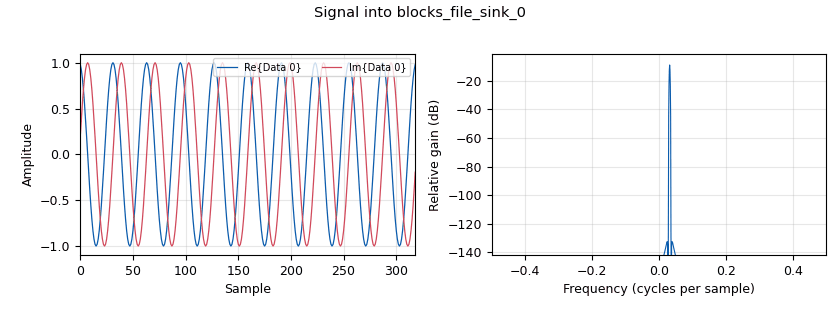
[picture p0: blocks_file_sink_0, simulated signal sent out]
options:
  parameters:
    generate_options: no_gui
    id: file_sink
    output_language: python
    run_options: run
    title: Not titled yet
  states: {}

blocks:
- name: samp_rate
  id: variable
  parameters:
    value: '32000'
  states: {}
- name: analog_sig_source_x_0
  id: analog_sig_source_x
  parameters:
    amp: '1'
    freq: '1000'
    offset: '0'
    phase: '0'
    samp_rate: samp_rate
    type: complex
    waveform: analog.GR_COS_WAVE
  states: {}
- name: blocks_file_sink_0
  id: blocks_file_sink
  parameters:
    file: testfile
    type: complex
  states: {}
- name: blocks_head_0
  id: blocks_head
  parameters:
    num_items: '1024'
    type: complex
  states: {}
- name: blocks_throttle_0
  id: blocks_throttle
  parameters:
    samples_per_second: samp_rate
    type: complex
  states: {}

connections:
- [analog_sig_source_x_0, '0', blocks_throttle_0, '0']
- [blocks_head_0, '0', blocks_file_sink_0, '0']
- [blocks_throttle_0, '0', blocks_head_0, '0']

metadata:
  file_format: 1
